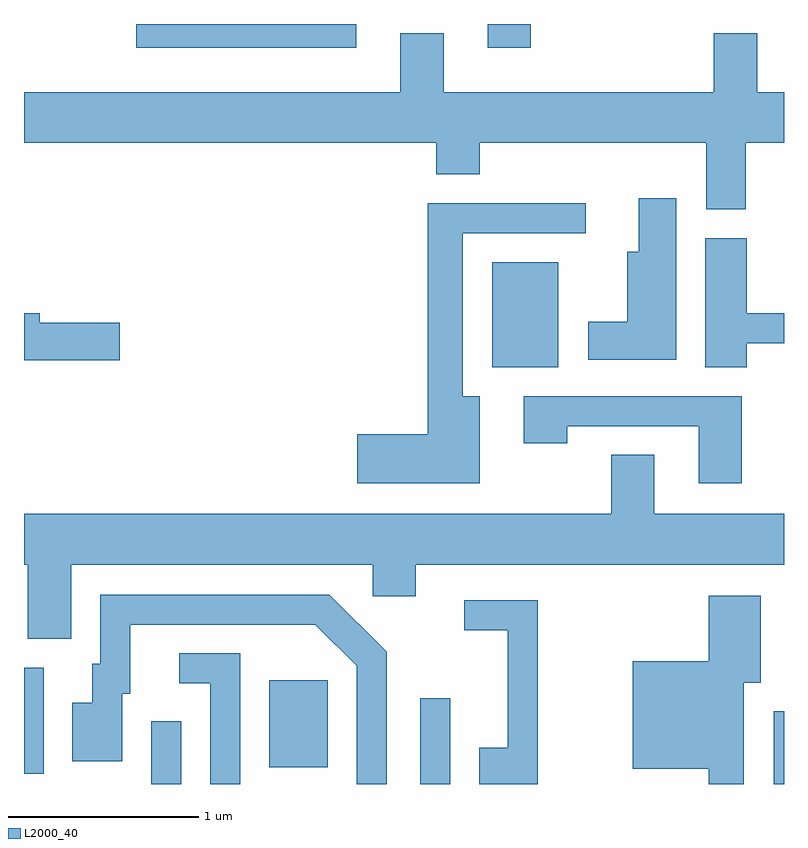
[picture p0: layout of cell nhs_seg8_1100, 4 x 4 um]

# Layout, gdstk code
import gdstk
lib = gdstk.Library(unit=1e-6, precision=1e-09)
def R(c, l, rs):  # rectangles x0, y0, x1, y1
    for r in rs: c.add(gdstk.rectangle(r[:2], r[2:], *l))
def P(c, l, *ps):  # polygons
    for p in ps: c.add(gdstk.Polygon(p, *l))
L2000_40 = (2000, 40)

nhs_seg8_1100 = lib.new_cell('nhs_seg8_1100')
R(nhs_seg8_1100, L2000_40, [(218.281,1866.342,218.439,1866.673), (219.696,1866.342,219.854,1866.793), (221.556,1866.342,221.611,1866.724), (217.611,1866.396,217.714,1866.954), (218.901,1866.431,219.209,1866.889), (220.076,1868.536,220.424,1869.089), (218.203,1870.216,219.359,1870.342), (220.051,1870.216,220.279,1870.342)])
P(nhs_seg8_1100, L2000_40, [(221.409,1869.716),(221.611,1869.716),(221.611,1869.984),(221.469,1869.984),(221.469,1870.294),(221.241,1870.294),(221.241,1869.984),(219.819,1869.984),(219.819,1870.294),(219.591,1870.294),(219.591,1869.984),(217.611,1869.984),(217.611,1869.716),(219.781,1869.716),(219.781,1869.551),(220.009,1869.551),(220.009,1869.716),(221.201,1869.716),(221.201,1869.366),(221.409,1869.366)],
  [(221.044,1869.424),(220.846,1869.424),(220.846,1869.144),(220.786,1869.144),(220.786,1868.774),(220.581,1868.774),(220.581,1868.576),(221.044,1868.576)],
  [(220.009,1868.384),(219.919,1868.384),(219.919,1869.241),(220.568,1869.241),(220.568,1869.399),(219.736,1869.399),(219.736,1868.184),(219.366,1868.184),(219.366,1867.926),(220.009,1867.926)],
  [(221.414,1868.661),(221.611,1868.661),(221.611,1868.819),(221.414,1868.819),(221.414,1869.214),(221.196,1869.214),(221.196,1868.536),(221.414,1868.536)],
  [(218.114,1868.769),(217.694,1868.769),(217.694,1868.819),(217.611,1868.819),(217.611,1868.571),(218.114,1868.571)],
  [(221.389,1868.384),(220.241,1868.384),(220.241,1868.136),(220.469,1868.136),(220.469,1868.226),(221.161,1868.226),(221.161,1867.926),(221.389,1867.926)],
  [(220.701,1868.074),(220.701,1867.764),(217.611,1867.764),(217.611,1867.496),(217.631,1867.496),(217.631,1867.106),(217.859,1867.106),(217.859,1867.496),(219.446,1867.496),(219.446,1867.331),(219.674,1867.331),(219.674,1867.496),(221.611,1867.496),(221.611,1867.764),(220.929,1867.764),(220.929,1868.074)],
  [(219.519,1867.037),(219.217,1867.339),(218.011,1867.339),(218.011,1866.974),(217.971,1866.974),(217.971,1866.769),(217.866,1866.769),(217.866,1866.461),(218.129,1866.461),(218.129,1866.816),(218.169,1866.816),(218.169,1867.181),(219.144,1867.181),(219.361,1866.964),(219.361,1866.342),(219.519,1866.342)],
  [(221.399,1866.876),(221.489,1866.876),(221.489,1867.334),(221.216,1867.334),(221.216,1866.989),(220.816,1866.989),(220.816,1866.421),(221.216,1866.421),(221.216,1866.342),(221.399,1866.342)],
  [(220.314,1867.309),(219.928,1867.309),(219.928,1867.151),(220.156,1867.151),(220.156,1866.534),(220.006,1866.534),(220.006,1866.342),(220.314,1866.342)],
  [(218.749,1867.029),(218.428,1867.029),(218.428,1866.871),(218.591,1866.871),(218.591,1866.342),(218.749,1866.342)])

lib.write_gds('nhs_seg8_1100.gds')
